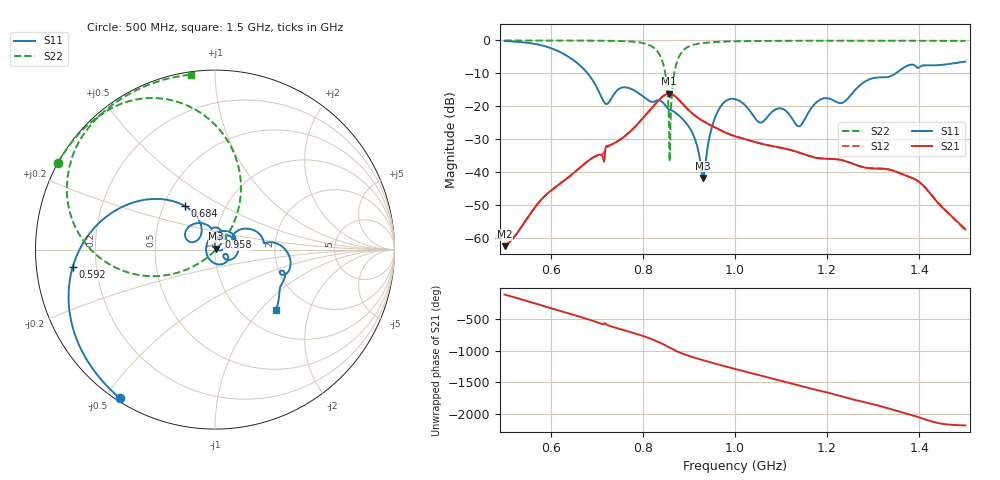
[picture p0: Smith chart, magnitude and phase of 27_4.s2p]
! TOUCHSTONE file generated by CST MICROWAVE STUDIO
! Date and time: Fri Oct  2 16:58:25 2020
! Project name: Scenario_1_Free_Space_out_of_line.cst
! Parameters = {Lambda=346.42; Step_1=17.321; dy1=-103.226; dx1=693; L_HA=400; MT=2.54; Rad_Dielectric=30; Rad_Lower=7.3; Rad_Upper=30; a_HA=580; a_WG=246; b_HA=500; b_WG=121; c_HA=0; c_WG=187; d_feed=85; h_feed=15; h_lower=18; h_upper=40}
! Header version: 2018
! Port assignment regex: !\s*Touchstone port\s*([0-9]+)\s*=\s*(CST MWS port|CST DS port)\s*([0-9]+|Zmin|Zmax)\s*\(\"(.*)\"\)(\s*mode\s*([0-9]+))?.*
! Touchstone port assignment:
! Touchstone port 1 = CST MWS port 1 ("")
! Touchstone port 2 = CST MWS port 2 ("")
# GHz S DB R 50
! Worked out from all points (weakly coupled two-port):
!   1003 points, 500 MHz to 1.5 GHz, reference 50 ohm
!   highest |S21| = -16.16 dB at 857 MHz (marker M1); lowest = -62.5 dB at 500 MHz (marker M2)
!   lowest |S11| = -41.8 dB at 931 MHz (marker M3), VSWR 1.02, Z = 50.6 + j0.565 ohm
!   |S11| at or under -10 dB: 680.1 MHz to 1.349 GHz (668.6 MHz wide, 65.9 % of centre)
!   |S22| runs from -36.8 to 0.0 dB; largest |S21 - S12| = 0.0064
!   S11 on the Smith chart (normalised r, x): 500 MHz: 0.01, -0.55; 592 MHz: 0.11, -0.06; 684 MHz: 0.65, +0.34; 958 MHz: 1.03, +0.14; 1.5 GHz: 1.41, -1.22
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0.5  -0.15 -122.6  -62.49 -117.2  -62.49 -117.2  -0.01 151.1
0.592  -1.95 -172.9  -46.63 46.1  -46.66 46.0  -0.02 144.7
0.667  -8.04 135.2  -38.21 -113.6  -38.19 -113.6  -0.04 138.3
0.684  -10.68 124.4  -36.30 -153.8  -36.33 -153.7  -0.06 136.5
0.72  -19.29 141.6  -32.29 138.1  -32.94 130.9  -0.11 132.2
0.759  -14.24 144.0  -29.29 42.2  -29.29 42.2  -0.23 125.5
0.834  -18.15 88.6  -18.22 -144.1  -18.22 -144.1  -3.80 86.0
0.848  -19.55 68.1  -16.55 166.9  -16.55 166.9  -9.48 64.8
0.857  -21.02 52.0  -16.16 132.4  -16.16 132.4  -26.32 43.6
0.868  -21.68 37.9  -16.74 90.7  -16.74 90.7  -10.13 -152.6
0.879  -22.89 26.4  -18.16 53.6  -18.16 53.6  -4.81 -170.6
0.91  -28.83 -6.4  -22.49 -25.8  -22.49 -25.9  -1.31 162.3
0.931  -41.79 43.3  -24.50 -70.6  -24.51 -70.6  -0.77 153.9
0.958  -22.97 73.5  -26.52 -126.3  -26.52 -126.2  -0.47 147.1
1  -17.83 -3.9  -29.09 152.8  -29.09 152.8  -0.26 140.1
1.055  -24.96 -31.7  -31.29 48.7  -31.29 48.7  -0.16 133.8
1.098  -20.62 -51.3  -32.56 -32.0  -32.56 -32.0  -0.12 129.8
1.14  -26.06 175.1  -34.10 -112.5  -34.10 -112.5  -0.10 126.3
1.167  -20.27 82.3  -35.35 -160.9  -35.35 -160.9  -0.09 124.1
1.334  -11.02 7.3  -39.20 -110.4  -39.20 -110.4  -0.09 111.4
1.401  -8.00 -17.4  -43.12 105.9  -43.12 105.9  -0.10 106.2
1.5  -6.42 -44.5  -57.36 -16.4  -57.74 -19.7  -0.14 97.9
